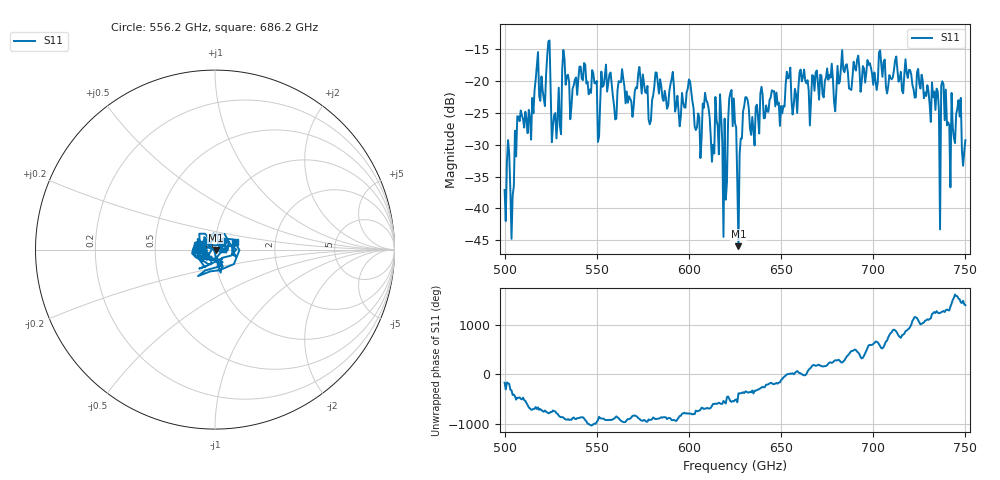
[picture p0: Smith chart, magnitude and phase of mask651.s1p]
!Created with skrf (http://scikit-rf.org).
# GHz S MA R 50.0
!freq magS11 angS11
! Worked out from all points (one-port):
!   401 points, 500 GHz to 750 GHz, reference 50 ohm
!   lowest |S11| = -45.9 dB at 626.9 GHz (marker M1), VSWR 1.01, Z = 50.5 - j0.175 ohm
!   |S11| at or under -10 dB: start of sweep to end of sweep
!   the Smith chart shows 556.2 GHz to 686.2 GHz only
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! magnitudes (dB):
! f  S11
! 500 GHz  -37.1
! 503.8 GHz  -44.8
! 508.1 GHz  -26.3
! 517.5 GHz  -17.5
! 523.8 GHz  -13.7
! 526.9 GHz  -25.3
! 531.2 GHz  -18.1
! 562.5 GHz  -20.1
! 593.8 GHz  -22.3
! 600 GHz  -19.7
! 605.6 GHz  -25.7
! 609.4 GHz  -23.0
! 612.5 GHz  -32.7
! 616.9 GHz  -22.0
! 619.4 GHz  -25.9
! 622.5 GHz  -21.8
! 625 GHz  -26.6
! 626.9 GHz  -45.9
! 630.6 GHz  -22.5
! 634.4 GHz  -25.6
! 656.2 GHz  -25.2
! 687.5 GHz  -21.2
! 718.8 GHz  -19.5
! 735 GHz  -21.6
! 738.1 GHz  -20.5
! 743.1 GHz  -27.2
! 746.2 GHz  -23.0
! 750 GHz  -29.3
